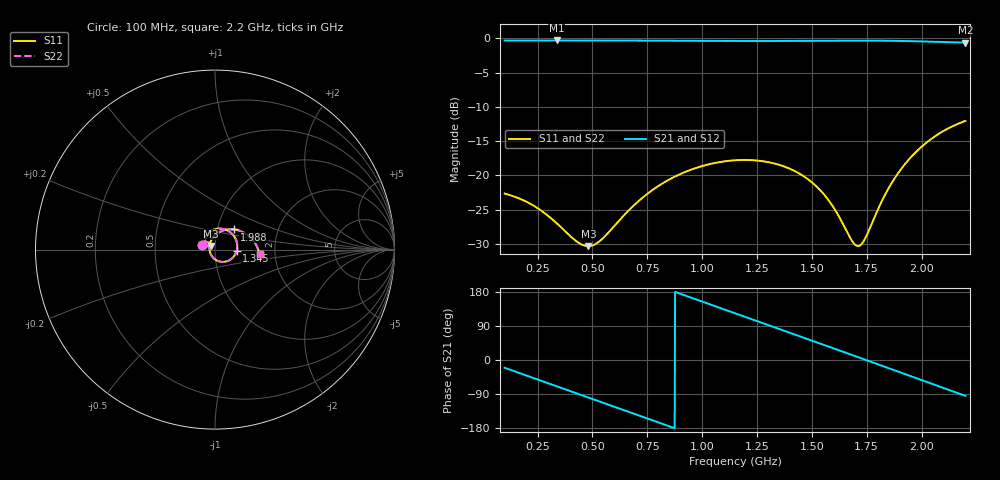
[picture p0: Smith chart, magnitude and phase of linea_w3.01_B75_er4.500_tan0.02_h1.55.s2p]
! Chirptenna · simulación 3D de una microstrip de dos puertos (S12 = S21, S22 = S11 por simetría)
# HZ S RI R 50
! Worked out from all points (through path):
!   1101 points, 100 MHz to 2.2 GHz, reference 50 ohm
!   highest |S21| = -0.32 dB at 336.7 MHz (marker M1); lowest = -0.6 dB at 2.2 GHz (marker M2)
!   group delay of S21, straight-line fit = 574 ps
!   lowest |S11| = -30.3 dB at 481.8 MHz (marker M3), VSWR 1.06, Z = 47.7 + j1.87 ohm
!   |S11| at or under -10 dB: start of sweep to end of sweep
!   |S22| runs from -30.3 to -12.1 dB; largest |S21 - S12| = 0
!   S11 on the Smith chart (normalised r, x): 100 MHz: 0.87, +0.04; 1.345 GHz: 1.27, -0.02; 1.988 GHz: 1.21, +0.28; 2.2 GHz: 1.66, -0.09
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1e8  -0.0698 0.024  0.9029 -0.338  0.9029 -0.338  -0.0698 0.024
2.088182e8  -0.0498 0.0391  0.7067 -0.6559  0.7067 -0.6559  -0.0498 0.0391
3.367273e8  -0.0269 0.0361  0.3433 -0.9012  0.3433 -0.9012  -0.0269 0.0361
4.512727e8  -0.0216 0.0227  -0.0456 -0.9631  -0.0456 -0.9631  -0.0216 0.0227
4.818182e8  -0.0234 0.0196  -0.1507 -0.9523  -0.1507 -0.9523  -0.0234 0.0196
6.269091e8  -0.0431 0.0208  -0.6045 -0.75  -0.6045 -0.75  -0.0431 0.0208
7.166364e8  -0.0537 0.039  -0.8103 -0.5191  -0.8103 -0.5191  -0.0537 0.039
8.006364e8  -0.0523 0.0655  -0.9269 -0.2544  -0.9269 -0.2544  -0.0523 0.0655
8.846364e8  -0.035 0.0933  -0.9592 0.0326  -0.9592 0.0326  -0.035 0.0933
9.686364e8  -0.00196 0.1129  -0.9049 0.3155  -0.9049 0.3155  -0.00196 0.1129
1.054545e9  0.0419 0.1156  -0.7654 0.5742  -0.7654 0.5742  0.0419 0.1156
1.15e9  0.0894 0.093  -0.5278 0.7966  -0.5278 0.7966  0.0894 0.093
1.249273e9  0.1203 0.0454  -0.2173 0.93  -0.2173 0.93  0.1203 0.0454
1.344727e9  0.12 -0.00935  0.1075 0.9495  0.1075 0.9495  0.12 -0.00935
1.501273e9  0.0585 -0.0669  0.6001 0.7474  0.6001 0.7474  0.0585 -0.0669
1.610091e9  0.000638 -0.0548  0.8437 0.46  0.8437 0.46  0.000638 -0.0548
1.709364e9  -0.0299 -0.00628  0.9532 0.1306  0.9532 0.1306  -0.0299 -0.00628
1.741818e9  -0.0313 0.0142  0.9619 0.0164  0.9619 0.0164  -0.0313 0.0142
1.850636e9  0.00136 0.081  0.8897 -0.3588  0.8897 -0.3588  0.00136 0.081
1.988091e9  0.1077 0.1121  0.5997 -0.7372  0.5997 -0.7372  0.1077 0.1121
2.095e9  0.1975 0.0676  0.2729 -0.8996  0.2729 -0.8996  0.1975 0.0676
2.2e9  0.2484 -0.0255  -0.0761 -0.9272  -0.0761 -0.9272  0.2484 -0.0255
